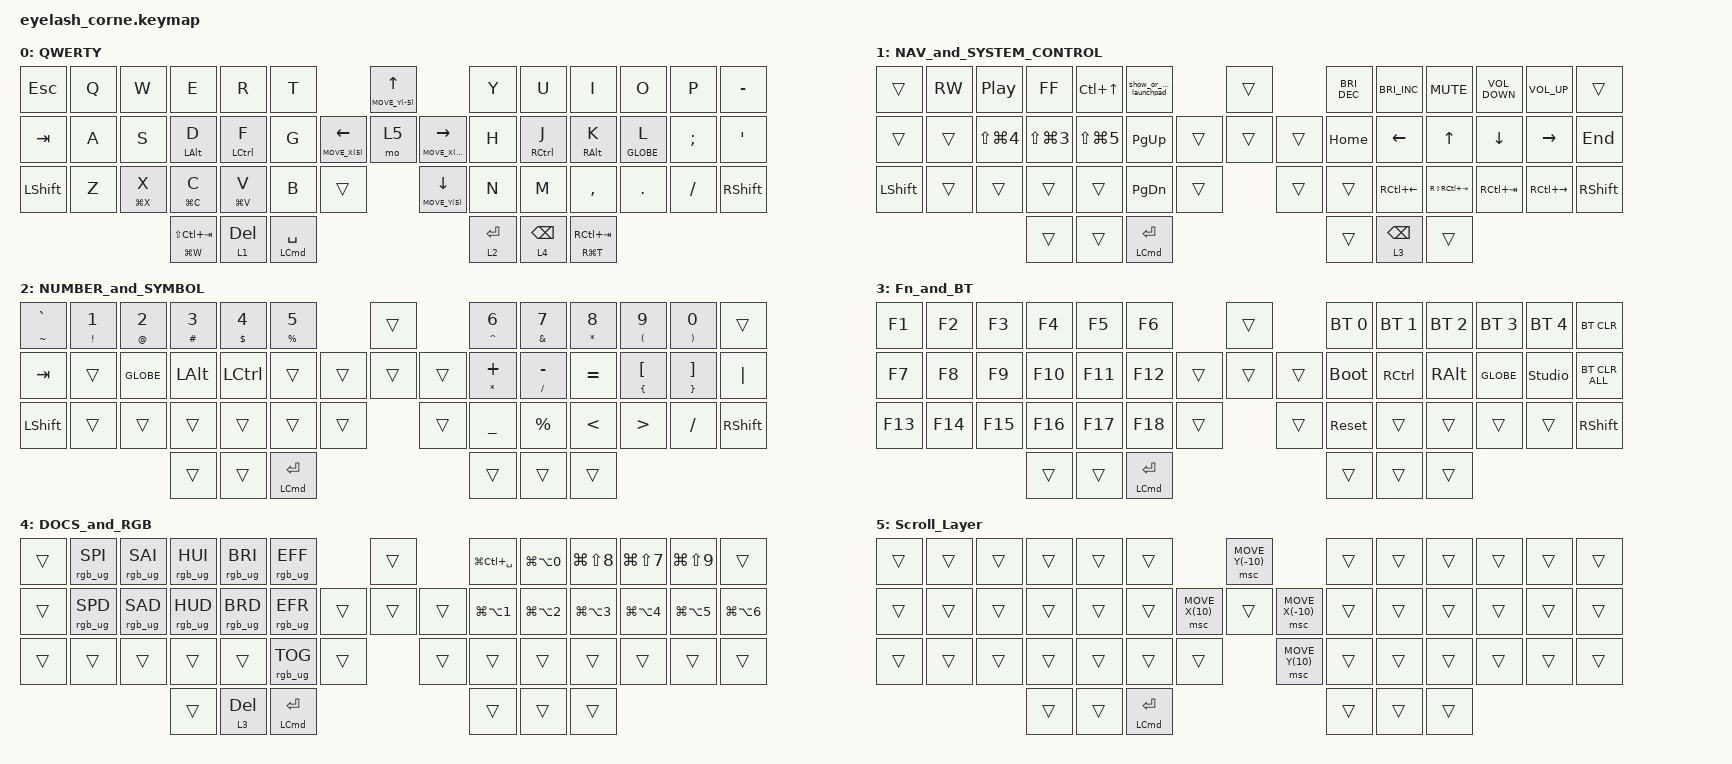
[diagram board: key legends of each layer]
#define ZMK_POINTING_DEFAULT_MOVE_VAL 1200  // 600
#define ZMK_POINTING_DEFAULT_SCRL_VAL 25   // 10

#include <input/processors.dtsi>
#include <zephyr/dt-bindings/input/input-event-codes.h>
#include <behaviors.dtsi>
#include <dt-bindings/zmk/bt.h>
#include <dt-bindings/zmk/keys.h>
#include <dt-bindings/zmk/pointing.h>
#include <dt-bindings/zmk/rgb.h>

&mmv_input_listener { input-processors = <&zip_xy_scaler 2 1>; };

&msc_input_listener { input-processors = <&zip_scroll_scaler 2 1>; };

&msc {
    acceleration-exponent = <1>;      // 0
    time-to-max-speed-ms = <100>;       // 300
    delay-ms = <0>;                   // 0
};

&mmv {
    time-to-max-speed-ms = <500>;
    acceleration-exponent = <1>;
    trigger-period-ms = <16>;
};

/ {
    behaviors {
        Control_Mod_L: Control_Mod_L {
            compatible = "zmk,behavior-hold-tap";
            label = "CONTROL_MOD_L";
            bindings = <&kp>, <&kp>;

            #binding-cells = <2>;
            tapping-term-ms = <200>;
            quick-tap-ms = <175>;
            flavor = "tap-preferred";
            hold-trigger-key-positions = <42 43 44 45 46 47 7 8 9 10 11 12 22 23 24 25 26 27 36 37 38 39 40 41 45 46 47>;
            hold-trigger-on-release;
        };

        Control_Mod_R: Control_Mod_R {
            compatible = "zmk,behavior-hold-tap";
            label = "CONTROL_MOD_R";
            bindings = <&kp>, <&kp>;

            #binding-cells = <2>;
            tapping-term-ms = <300>;
            quick-tap-ms = <175>;
            flavor = "tap-preferred";
            hold-trigger-key-positions = <42 43 44 45 46 47 45 46 47 0 1 2 3 4 5 13 14 15 16 17 18 28 29 30 31 32 33 28 29 30 31 32 33>;
            hold-trigger-on-release;
        };

        Shift_Caps_Word: Shift_Caps_Word {
            compatible = "zmk,behavior-tap-dance";
            label = "SHIFT_CAPS_WORD";
            #binding-cells = <0>;
            bindings = <&sk LEFT_SHIFT>, <&caps_word>;

            tapping-term-ms = <200>;
        };

        arrow_scroll: arrow_scroll {
            compatible = "zmk,behavior-hold-tap";
            label = "ARROW_SCROLL";
            bindings = <&msc>, <&kp>;

            #binding-cells = <2>;
            tapping-term-ms = <200>;
            flavor = "tap-preferred";
        };

        Contro_Mod_Universal: Contro_Mod_Universal {
            compatible = "zmk,behavior-hold-tap";
            label = "CONTRO_MOD_UNIVERSAL";
            bindings = <&kp>, <&kp>;

            #binding-cells = <2>;
            tapping-term-ms = <200>;
            quick-tap-ms = <175>;
            flavor = "tap-preferred";
        };
    };

    combos {
        compatible = "zmk,combos";

        Sleep {
            bindings = <&kp LA(LG(C_POWER))>;
            key-positions = <42 44>;
        };

        Reopen_Closed_Tab {
            bindings = <&kp LS(LG(T))>;
            key-positions = <42 47>;
        };

        Volume_Up {
            bindings = <&kp C_VOLUME_UP>;
            key-positions = <46 47>;
        };

        Volume_Down {
            bindings = <&kp C_VOLUME_DOWN>;
            key-positions = <45 46>;
        };

        Mute {
            bindings = <&kp C_MUTE>;
            key-positions = <45 47>;
        };

        Brightness_Up {
            bindings = <&kp C_BRIGHTNESS_INC>;
            key-positions = <43 44>;
        };

        Brightness_Down {
            bindings = <&kp C_BRIGHTNESS_DEC>;
            key-positions = <42 43>;
        };

        Full-Screen_Left {
            bindings = <&kp LC(LEFT)>;
            key-positions = <42 28>;
        };

        Full-Screen_Right {
            bindings = <&kp RC(RIGHT)>;
            key-positions = <47 41>;
        };

        Mission_Control {
            bindings = <&kp LC(UP_ARROW)>;
            key-positions = <28 42 47 41>;
        };

        Caps_Word {
            bindings = <&caps_word>;
            key-positions = <28 41>;
        };
    };

    macros {
        show_or_hide_launchpad: show_or_hide_launchpad {
            compatible = "zmk,behavior-macro";
            #binding-cells = <0>;
            bindings =
                <&macro_press>,
                <&kp GLOBE>,
                <&macro_tap>,
                <&kp LS(A)>,
                <&macro_release>,
                <&kp GLOBE>;

            label = "SHOW_OR_HIDE_LAUNCHPAD";
        };
    };

    keymap {
        compatible = "zmk,keymap";

        default_layer {
            display-name = "QWERTY";
            bindings = <
&kp ESC         &kp Q  &kp W                   &kp E                      &kp R                          &kp T                                                                             &arrow_scroll MOVE_Y(-5) UP                                   &kp Y        &kp U                           &kp I                       &kp O                   &kp P     &kp MINUS
&kp TAB         &kp A  &kp S                   &Control_Mod_L LEFT_ALT D  &Control_Mod_L LEFT_CONTROL F  &kp G                                               &arrow_scroll MOVE_X(5) LEFT  &mo 5                         &arrow_scroll MOVE_X(-5) RIGHT  &kp H        &Control_Mod_R RIGHT_CONTROL J  &Control_Mod_R RIGHT_ALT K  &Control_Mod_R GLOBE L  &kp SEMI  &kp SQT
&kp LEFT_SHIFT  &kp Z  &Control_Mod_L LG(X) X  &Control_Mod_L LG(C) C     &Control_Mod_L LG(V) V         &kp B                                     &trans                                  &arrow_scroll MOVE_Y(5) DOWN                                  &kp N        &kp M                           &kp COMMA                   &kp PERIOD              &kp FSLH  &kp RIGHT_SHIFT
                                               &mt LG(W) LS(LC(TAB))      &lt 1 DEL                      &Contro_Mod_Universal LEFT_COMMAND SPACE                                                                                                        &lt 2 ENTER  &lt 4 BACKSPACE                 &mt RG(T) RC(TAB)
            >;
        };

        NAV_and_SYSTEM_CONTROL {
            display-name = "NAV_and_SYSTEM_CONTROL";
            bindings = <
&trans          &kp C_RW  &kp C_PP              &kp C_FF              &kp LC(UP_ARROW)      &show_or_hide_launchpad                                      &trans          &kp C_BRIGHTNESS_DEC  &kp C_BRIGHTNESS_INC  &kp C_MUTE       &kp C_VOLUME_DOWN  &kp C_VOLUME_UP  &trans
&trans          &trans    &kp LS(LG(NUMBER_4))  &kp LS(LG(NUMBER_3))  &kp LS(LG(NUMBER_5))  &kp PG_UP                                            &trans  &trans  &trans  &kp HOME              &kp LEFT              &kp UP           &kp DOWN           &kp RIGHT        &kp END
&kp LEFT_SHIFT  &trans    &trans                &trans                &trans                &kp PG_DN                                  &trans            &trans          &trans                &kp RC(LEFT)          &kp RS(RC(TAB))  &kp RC(TAB)        &kp RC(RIGHT)    &kp RIGHT_SHIFT
                                                &trans                &trans                &Contro_Mod_Universal LEFT_COMMAND RETURN                                    &trans                &lt 3 BACKSPACE       &trans
            >;
        };

        NUMBER_and_SYMBOL {
            display-name = "NUMBER_and_SYMBOL";
            bindings = <
&Control_Mod_L TILDE GRAVE  &Control_Mod_L EXCL NUMBER_1  &Control_Mod_L AT NUMBER_2  &Control_Mod_L HASH NUMBER_3  &Control_Mod_L DLLR NUMBER_4  &Control_Mod_L PRCNT NUMBER_5                                &trans          &Control_Mod_R CARET NUMBER_6  &Control_Mod_R AMPS NUMBER_7  &Control_Mod_R ASTRK NUMBER_8  &Control_Mod_R LPAR NUMBER_9            &Control_Mod_R RPAR NUMBER_0              &trans
&kp TAB                     &trans                        &kp GLOBE                   &kp LEFT_ALT                  &kp LEFT_CONTROL              &trans                                               &trans  &trans  &trans  &Control_Mod_R ASTRK PLUS      &Control_Mod_R SLASH MINUS    &kp EQUAL                      &Control_Mod_R LEFT_BRACE LEFT_BRACKET  &Control_Mod_R RIGHT_BRACE RIGHT_BRACKET  &kp PIPE
&kp LEFT_SHIFT              &trans                        &trans                      &trans                        &trans                        &trans                                     &trans            &trans          &kp UNDER                      &kp PERCENT                   &kp LESS_THAN                  &kp GREATER_THAN                        &kp SLASH                                 &kp RIGHT_SHIFT
                                                                                      &trans                        &trans                        &Contro_Mod_Universal LEFT_COMMAND RETURN                                    &trans                         &trans                        &trans
            >;
        };

        Fn_and_BT {
            display-name = "Fn_and_BT";
            bindings = <
&kp F1   &kp F2   &kp F3   &kp F4   &kp F5   &kp F6                                                       &trans          &bt BT_SEL 0  &bt BT_SEL 1       &bt BT_SEL 2   &bt BT_SEL 3  &bt BT_SEL 4    &bt BT_CLR
&kp F7   &kp F8   &kp F9   &kp F10  &kp F11  &kp F12                                              &trans  &trans  &trans  &bootloader   &kp RIGHT_CONTROL  &kp RIGHT_ALT  &kp GLOBE     &studio_unlock  &bt BT_CLR_ALL
&kp F13  &kp F14  &kp F15  &kp F16  &kp F17  &kp F18                                    &trans            &trans          &sys_reset    &trans             &trans         &trans        &trans          &kp RIGHT_SHIFT
                           &trans   &trans   &Contro_Mod_Universal LEFT_COMMAND RETURN                                    &trans        &trans             &trans
            >;
        };

        DOCS_and_RGB {
            bindings = <
&trans  &rgb_ug RGB_SPI  &rgb_ug RGB_SAI  &rgb_ug RGB_HUI  &rgb_ug RGB_BRI  &rgb_ug RGB_EFF                                              &trans          &kp LG(LC(SPACE))     &kp LG(LA(NUMBER_0))  &kp LG(LS(NUMBER_8))  &kp LG(LS(NUMBER_7))  &kp LG(LS(NUMBER_9))  &trans
&trans  &rgb_ug RGB_SPD  &rgb_ug RGB_SAD  &rgb_ug RGB_HUD  &rgb_ug RGB_BRD  &rgb_ug RGB_EFR                                      &trans  &trans  &trans  &kp LG(LA(NUMBER_1))  &kp LG(LA(NUMBER_2))  &kp LG(LA(NUMBER_3))  &kp LG(LA(NUMBER_4))  &kp LG(LA(NUMBER_5))  &kp LG(LA(NUMBER_6))
&trans  &trans           &trans           &trans           &trans           &rgb_ug RGB_TOG                            &trans            &trans          &trans                &trans                &trans                &trans                &trans                &trans
                                          &trans           &lt 3 DEL        &Contro_Mod_Universal LEFT_COMMAND RETURN                                    &trans                &trans                &trans
            >;

            label = "DOCS_and_RGB";
        };

        Scroll_Layer {
            bindings = <
&trans  &trans  &trans  &trans  &trans  &trans                                                                &msc MOVE_Y(-10)                    &trans  &trans  &trans  &trans  &trans  &trans
&trans  &trans  &trans  &trans  &trans  &trans                                               &msc MOVE_X(10)  &trans            &msc MOVE_X(-10)  &trans  &trans  &trans  &trans  &trans  &trans
&trans  &trans  &trans  &trans  &trans  &trans                                     &trans                     &msc MOVE_Y(10)                     &trans  &trans  &trans  &trans  &trans  &trans
                        &trans  &trans  &Contro_Mod_Universal LEFT_COMMAND RETURN                                                                 &trans  &trans  &trans
            >;

            label = "Scroll_Layer";
        };
    };

    conditional_layers { compatible = "zmk,conditional-layers"; };
};
